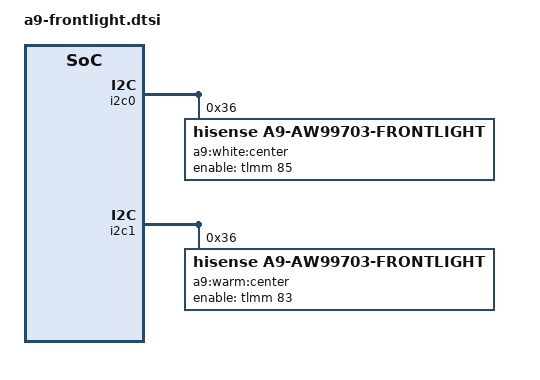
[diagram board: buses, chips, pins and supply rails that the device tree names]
// SPDX-License-Identifier: (GPL-2.0-only OR BSD-2-Clause)
/* Include AFTER sm6115-hisense-hlte556n.dts; merge its disabled placeholders. */
#include <dt-bindings/gpio/gpio.h>

&i2c0 {
	status = "okay";

	backlight@36 {
		compatible = "hisense,a9-aw99703-frontlight";
		reg = <0x36>;
		enable-gpios = <&tlmm 85 GPIO_ACTIVE_HIGH>;
		label = "a9:white:center";
		default-state = "keep";
		status = "okay";
	};

	backlight@35 {
		/* Stock ABL and kernel cannot detect this optional IC on our A9. */
		compatible = "hisense,a9-ktd3137-frontlight";
		reg = <0x35>;
		enable-gpios = <&tlmm 101 GPIO_ACTIVE_HIGH>;
		label = "a9:white:edge";
		default-state = "keep";
		status = "disabled";
	};
};

&i2c1 {
	status = "okay";

	backlight@36 {
		compatible = "hisense,a9-aw99703-frontlight";
		reg = <0x36>;
		enable-gpios = <&tlmm 83 GPIO_ACTIVE_HIGH>;
		label = "a9:warm:center";
		default-state = "keep";
		status = "okay";
	};

	backlight@35 {
		/* Stock ABL and kernel cannot detect this optional IC on our A9. */
		compatible = "hisense,a9-ktd3137-frontlight";
		reg = <0x35>;
		enable-gpios = <&tlmm 88 GPIO_ACTIVE_HIGH>;
		label = "a9:warm:edge";
		default-state = "keep";
		status = "disabled";
	};
};

&tlmm {
	/* Reopen AW HWEN 83/85 and QUP1 SDA/SCL 4/5. Keep optional KTD pins shut. */
	gpio-reserved-ranges = <3 1>, <8 4>, <14 7>, <22 3>, <27 4>, <32 1>,
			       <35 1>, <37 34>, <72 8>, <87 21>, <109 5>;
};

/* Keep the stock-disabled SD controller off; GPIO88 remains reserved. */
&sdhc_2 {
	status = "disabled";
};
